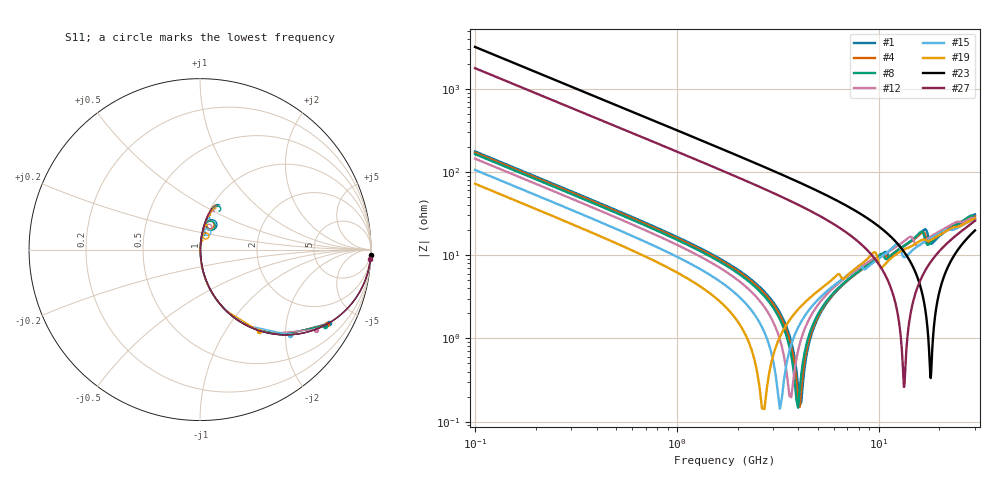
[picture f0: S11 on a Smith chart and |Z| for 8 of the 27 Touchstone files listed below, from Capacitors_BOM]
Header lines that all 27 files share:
!These Parameters are Measured in Series Mode Connection
!  o--ll--o
!Port1  Port2
!  o------o
!Operation Temp=25[degC], DC Bias Voltage=0[V]
!Freq. Start=100[MHz] Stop=30[GHz], 401[Steps]
!Data Generated on Feb 1, 2023
# Hz S RI R 50
!Freq.(Hz) S11(Real) S11(Imag) S21(Real) S21(Imag) S12(Real) S12(Imag) S22(Real) S22(Imag)
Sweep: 100 MHz to 30 GHz
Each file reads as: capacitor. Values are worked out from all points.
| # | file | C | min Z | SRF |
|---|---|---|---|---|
| 1 | GJM0225C1E9R0BB01_DC0V_25degC_series.s2p | 9 pF | 158 mohm | 4.093 GHz |
| 2 | GJM0225C1E9R1BB01_DC0V_25degC_series.s2p | 9.1 pF | 144 mohm | 4.07 GHz |
| 3 | GJM0225C1E9R2BB01_DC0V_25degC_series.s2p | 9.2 pF | 142 mohm | 4.061 GHz |
| 4 | GJM0225C1E9R3BB01_DC0V_25degC_series.s2p | 9.3 pF | 150 mohm | 4.039 GHz |
| 5 | GJM0225C1E9R4BB01_DC0V_25degC_series.s2p | 9.4 pF | 156 mohm | 4.017 GHz |
| 6 | GJM0225C1E9R5BB01_DC0V_25degC_series.s2p | 9.5 pF | 149 mohm | 4.01 GHz |
| 7 | GJM0225C1E9R6BB01_DC0V_25degC_series.s2p | 9.6 pF | 142 mohm | 3.989 GHz |
| 8 | GJM0225C1E9R7BB01_DC0V_25degC_series.s2p | 9.7 pF | 147 mohm | 3.968 GHz |
| 9 | GJM0225C1E9R8BB01_DC0V_25degC_series.s2p | 9.8 pF | 150 mohm | 3.963 GHz |
| 10 | GJM0225C1E9R9BB01_DC0V_25degC_series.s2p | 9.9 pF | 154 mohm | 3.943 GHz |
| 11 | GJM0225C1E100GB01_DC0V_25degC_series.s2p | 10 pF | 142 mohm | 3.923 GHz |
| 12 | GJM0225C1E110GB01_DC0V_25degC_series.s2p | 11 pF | 196 mohm | 3.655 GHz |
| 13 | GJM0225C1E120GB01_DC0V_25degC_series.s2p | 12 pF | 170 mohm | 3.483 GHz |
| 14 | GJM0225C1E130GB01_DC0V_25degC_series.s2p | 13 pF | 152 mohm | 3.336 GHz |
| 15 | GJM0225C1E150GB01_DC0V_25degC_series.s2p | 15 pF | 143 mohm | 3.25 GHz |
| 16 | GJM0225C1E160GB01_DC0V_25degC_series.s2p | 16 pF | 149 mohm | 3.069 GHz |
| 17 | GJM0225C1E180GB01_DC0V_25degC_series.s2p | 18 pF | 124 mohm | 2.87 GHz |
| 18 | GJM0225C1E200GB01_DC0V_25degC_series.s2p | 20 pF | 131 mohm | 2.77 GHz |
| 19 | GJM0225C1E220GB01_DC0V_25degC_series.s2p | 22 pF | 141 mohm | 2.681 GHz |
| 20 | GJM0225C1ER20WB01_DC0V_25degC_series.s2p | 200 fF | 490 mohm | 27.07 GHz |
| 21 | GJM0225C1ER30WB01_DC0V_25degC_series.s2p | 300 fF | 380 mohm | 22.17 GHz |
| 22 | GJM0225C1ER40WB01_DC0V_25degC_series.s2p | 400 fF | 359 mohm | 19.53 GHz |
| 23 | GJM0225C1ER50WB01_DC0V_25degC_series.s2p | 500 fF | 334 mohm | 18.09 GHz |
| 24 | GJM0225C1ER60WB01_DC0V_25degC_series.s2p | 600 fF | 308 mohm | 16.53 GHz |
| 25 | GJM0225C1ER70WB01_DC0V_25degC_series.s2p | 700 fF | 289 mohm | 15.36 GHz |
| 26 | GJM0225C1ER80WB01_DC0V_25degC_series.s2p | 800 fF | 280 mohm | 14.34 GHz |
| 27 | GJM0225C1ER90WB01_DC0V_25degC_series.s2p | 900 fF | 261 mohm | 13.36 GHz |
